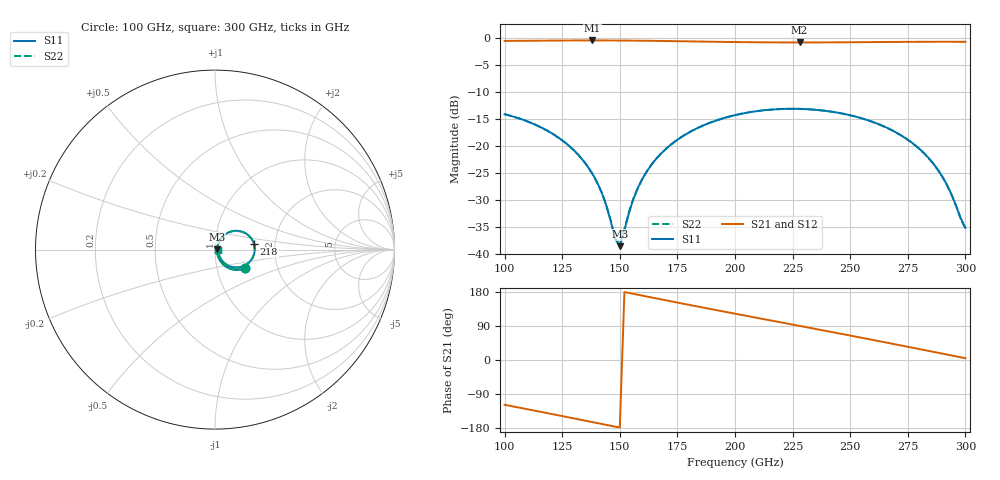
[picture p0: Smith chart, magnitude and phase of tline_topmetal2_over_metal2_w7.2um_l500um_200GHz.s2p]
#  GHZ S DB R 50
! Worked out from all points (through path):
!   101 points, 100 GHz to 300 GHz, reference 50 ohm
!   highest |S21| = -0.43 dB at 138 GHz (marker M1); lowest = -0.8 dB at 228 GHz (marker M2)
!   group delay of S21, straight-line fit = 3.28 ps
!   lowest |S11| = -38.6 dB at 150 GHz (marker M3), VSWR 1.02, Z = 51.2 + j0.189 ohm
!   |S11| at or under -10 dB: start of sweep to end of sweep
!   |S22| runs from -38.2 to -13.1 dB; largest |S21 - S12| = 1.1e-14
!   S11 on the Smith chart (normalised r, x): 100 GHz: 1.37, -0.29; 218 GHz: 1.55, +0.11; 300 GHz: 1.03, -0.01
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100  -14.10 -31.3  -0.52 -118.3  -0.52 -118.3  -14.10 -31.3
120  -17.52 -52.3  -0.46 -142.0  -0.46 -142.0  -17.52 -52.2
134  -22.63 -64.4  -0.43 -158.9  -0.43 -158.9  -22.64 -64.1
138  -25.08 -66.1  -0.43 -163.7  -0.43 -163.7  -25.08 -65.6
142  -28.50 -64.8  -0.43 -168.6  -0.43 -168.6  -28.48 -64.0
144  -30.83 -61.3  -0.43 -171.0  -0.43 -171.0  -30.80 -60.3
148  -37.29 -31.8  -0.44 -175.9  -0.44 -175.9  -37.02 -30.3
150  -38.57 9.0  -0.45 -178.3  -0.45 -178.3  -38.16 8.9
154  -32.34 54.7  -0.46 176.9  -0.46 176.9  -32.22 53.6
158  -27.63 62.6  -0.47 172.0  -0.47 172.0  -27.58 61.8
168  -21.36 59.5  -0.52 159.9  -0.52 159.9  -21.34 59.1
182  -17.04 46.8  -0.61 143.3  -0.61 143.3  -17.04 46.5
200  -14.28 28.0  -0.72 122.2  -0.72 122.2  -14.28 27.8
218  -13.18 8.6  -0.79 101.5  -0.79 101.5  -13.18 8.4
228  -13.12 -2.2  -0.80 90.0  -0.80 90.0  -13.12 -2.4
234  -13.25 -8.7  -0.80 83.1  -0.80 83.1  -13.25 -8.9
250  -14.30 -25.8  -0.76 64.5  -0.76 64.5  -14.31 -25.9
268  -17.05 -44.2  -0.71 43.2  -0.71 43.2  -17.07 -44.4
278  -19.79 -53.1  -0.68 31.3  -0.68 31.3  -19.81 -53.3
286  -23.21 -57.6  -0.67 21.6  -0.67 21.6  -23.24 -57.8
292  -27.20 -55.9  -0.67 14.4  -0.67 14.4  -27.26 -56.1
300  -35.17 -10.4  -0.68 4.7  -0.68 4.7  -35.32 -9.9
